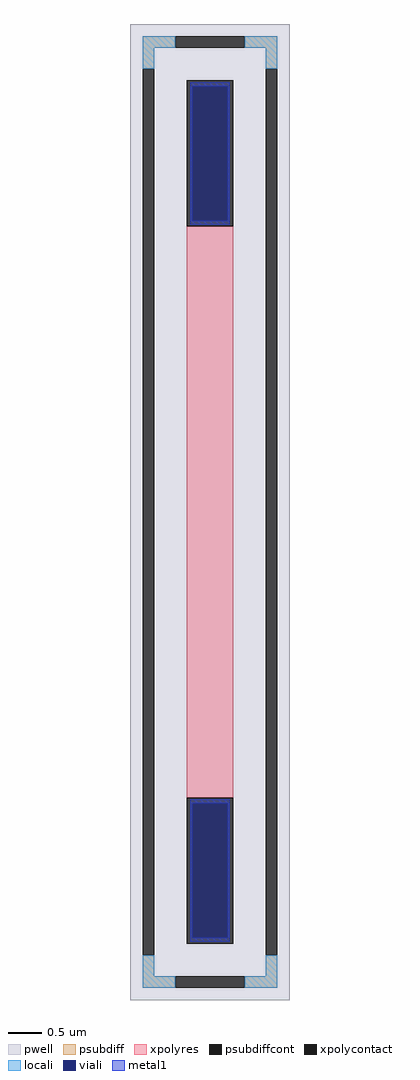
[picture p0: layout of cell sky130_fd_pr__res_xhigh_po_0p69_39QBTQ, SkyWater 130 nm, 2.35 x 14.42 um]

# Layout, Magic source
magic
tech sky130A
magscale 1 2
<< pwell >>
rect -235 -1442 235 1442
<< psubdiff >>
rect -199 1372 -103 1406
rect 103 1372 199 1406
rect -199 1310 -165 1372
rect 165 1310 199 1372
rect -199 -1372 -165 -1310
rect 165 -1372 199 -1310
rect -199 -1406 -103 -1372
rect 103 -1406 199 -1372
<< psubdiffcont >>
rect -103 1372 103 1406
rect -199 -1310 -165 1310
rect 165 -1310 199 1310
rect -103 -1406 103 -1372
<< xpolycontact >>
rect -69 844 69 1276
rect -69 -1276 69 -844
<< xpolyres >>
rect -69 -844 69 844
<< locali >>
rect -199 1372 -103 1406
rect 103 1372 199 1406
rect -199 1310 -165 1372
rect 165 1310 199 1372
rect -199 -1372 -165 -1310
rect 165 -1372 199 -1310
rect -199 -1406 -103 -1372
rect 103 -1406 199 -1372
<< viali >>
rect -53 861 53 1258
rect -53 -1258 53 -861
<< metal1 >>
rect -59 1258 59 1270
rect -59 861 -53 1258
rect 53 861 59 1258
rect -59 849 59 861
rect -59 -861 59 -849
rect -59 -1258 -53 -861
rect 53 -1258 59 -861
rect -59 -1270 59 -1258
<< properties >>
string FIXED_BBOX -182 -1389 182 1389
string gencell sky130_fd_pr__res_xhigh_po_0p69
string library sky130
string parameters w 0.690 l 8.6 m 1 nx 1 wmin 0.690 lmin 0.50 rho 2000 val 25.473k dummy 0 dw 0.0 term 188.2 sterm 0.0 caplen 0 wmax 0.690 guard 1 glc 1 grc 1 gtc 1 gbc 1 compatible {sky130_fd_pr__res_xhigh_po_0p35  sky130_fd_pr__res_xhigh_po_0p69 sky130_fd_pr__res_xhigh_po_1p41  sky130_fd_pr__res_xhigh_po_2p85 sky130_fd_pr__res_xhigh_po_5p73} snake 0 full_metal 1 n_guard 0 hv_guard 0 vias 1 viagb 0 viagt 0 viagl 0 viagr 0
<< end >>
